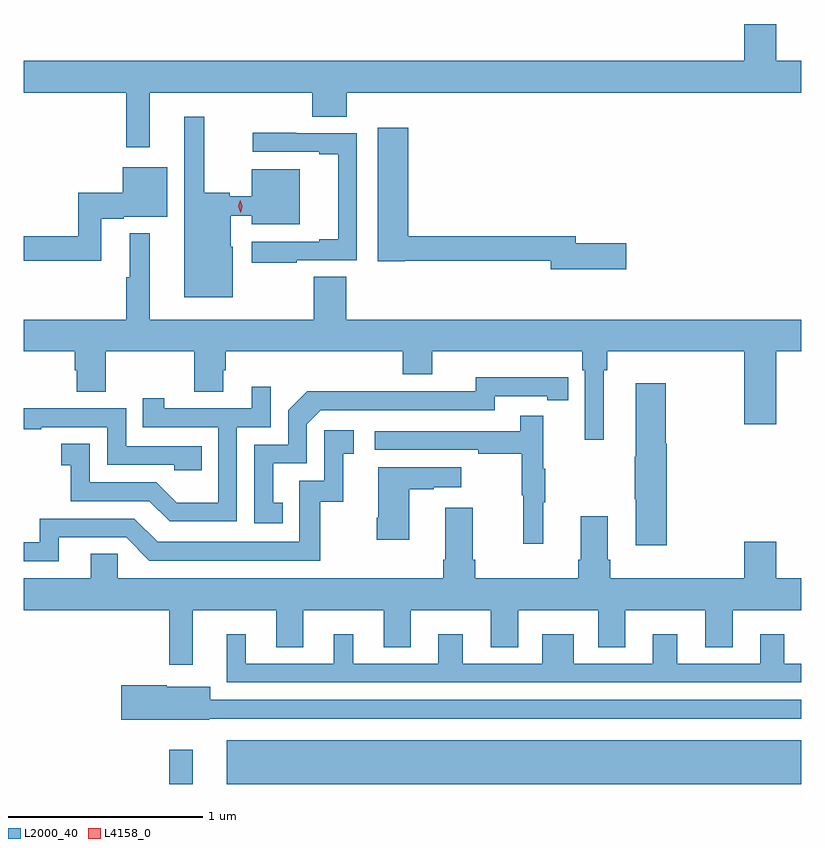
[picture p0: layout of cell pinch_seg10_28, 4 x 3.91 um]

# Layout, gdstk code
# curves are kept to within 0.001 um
import gdstk
lib = gdstk.Library(unit=1e-6, precision=1e-09)
def R(c, l, rs):  # rectangles x0, y0, x1, y1
    for r in rs: c.add(gdstk.rectangle(r[:2], r[2:], *l))
def P(c, l, *ps):  # polygons
    for p in ps: c.add(gdstk.Polygon(p, *l))
L2000_40 = (2000, 40)
L4158_0 = (4158, 0)

pinch_seg10_28 = lib.new_cell('pinch_seg10_28')
R(pinch_seg10_28, L2000_40, [(941.268,1266.122,941.389,1266.298), (941.564,1266.122,944.52,1266.346)])
P(pinch_seg10_28, L2000_40, [(941.167,1269.68),(942.005,1269.68),(942.005,1269.556),(942.182,1269.556),(942.182,1269.68),(944.52,1269.68),(944.52,1269.844),(944.392,1269.844),(944.392,1270.033),(944.228,1270.033),(944.228,1269.844),(940.52,1269.844),(940.52,1269.68),(941.046,1269.68),(941.046,1269.399),(941.167,1269.399)],
  [(941.596,1268.886),(941.584,1268.886),(941.584,1269.047),(941.693,1269.047),(941.693,1269.002),(941.941,1269.002),(941.941,1269.286),(941.693,1269.286),(941.693,1269.147),(941.58,1269.147),(941.58,1269.164),(941.449,1269.164),(941.449,1269.556),(941.345,1269.556),(941.345,1268.627),(941.596,1268.627)],
  [(943.621,1268.906),(943.36,1268.906),(943.36,1268.942),(942.497,1268.942),(942.497,1269.499),(942.341,1269.499),(942.341,1268.812),(942.48,1268.812),(942.48,1268.814),(943.232,1268.814),(943.232,1268.771),(943.621,1268.771)],
  [(941.924,1268.817),(942.234,1268.817),(942.234,1269.471),(941.921,1269.471),(941.921,1269.473),(941.697,1269.473),(941.697,1269.375),(942.041,1269.375),(942.041,1269.363),(942.137,1269.363),(942.137,1268.926),(942.041,1268.926),(942.041,1268.913),(941.694,1268.913),(941.694,1268.805),(941.924,1268.805)],
  [(940.918,1269.031),(941.034,1269.031),(941.034,1269.041),(941.257,1269.041),(941.257,1269.295),(941.03,1269.295),(941.03,1269.164),(940.801,1269.164),(940.801,1268.942),(940.52,1268.942),(940.52,1268.814),(940.918,1268.814)],
  [(943.504,1268.252),(943.523,1268.252),(943.523,1268.348),(944.228,1268.348),(944.228,1267.974),(944.392,1267.974),(944.392,1268.348),(944.52,1268.348),(944.52,1268.512),(942.179,1268.512),(942.179,1268.732),(942.013,1268.732),(942.013,1268.512),(941.167,1268.512),(941.167,1268.956),(941.065,1268.956),(941.065,1268.729),(941.046,1268.729),(941.046,1268.512),(940.52,1268.512),(940.52,1268.348),(940.781,1268.348),(940.781,1268.25),(940.793,1268.25),(940.793,1268.14),(940.941,1268.14),(940.941,1268.348),(941.398,1268.348),(941.398,1268.14),(941.545,1268.14),(941.545,1268.25),(941.558,1268.25),(941.558,1268.348),(942.47,1268.348),(942.47,1268.231),(942.622,1268.231),(942.622,1268.348),(943.394,1268.348),(943.394,1268.252),(943.407,1268.252),(943.407,1267.893),(943.504,1267.893)],
  [(941.852,1267.569),(941.803,1267.569),(941.803,1267.773),(941.976,1267.773),(941.976,1267.974),(942.048,1268.046),(942.942,1268.046),(942.942,1268.118),(943.214,1268.118),(943.214,1268.098),(943.322,1268.098),(943.322,1268.214),(942.846,1268.215),(942.846,1268.142),(942.386,1268.142),(942.386,1268.144),(941.978,1268.144),(941.88,1268.046),(941.88,1267.869),(941.706,1267.869),(941.706,1267.464),(941.852,1267.464)],
  [(943.829,1267.872),(943.824,1267.872),(943.824,1268.185),(943.67,1268.185),(943.67,1267.805),(943.663,1267.805),(943.663,1267.588),(943.67,1267.588),(943.67,1267.35),(943.829,1267.35)],
  [(941.616,1267.959),(941.79,1267.959),(941.79,1268.167),(941.693,1268.167),(941.693,1268.055),(941.242,1268.055),(941.242,1268.107),(941.131,1268.107),(941.131,1267.959),(941.52,1267.959),(941.52,1267.57),(941.306,1267.57),(941.202,1267.674),(940.86,1267.674),(940.86,1267.873),(940.713,1267.873),(940.713,1267.763),(940.762,1267.763),(940.762,1267.578),(941.165,1267.578),(941.27,1267.473),(941.616,1267.473)],
  [(941.435,1267.86),(941.046,1267.86),(941.046,1268.055),(940.52,1268.055),(940.52,1267.947),(940.609,1267.947),(940.609,1267.959),(940.95,1267.959),(940.95,1267.764),(941.295,1267.764),(941.295,1267.737),(941.435,1267.737)],
  [(943.193,1267.571),(943.204,1267.571),(943.204,1267.745),(943.193,1267.745),(943.193,1268.017),(943.075,1268.017),(943.075,1267.938),(942.327,1267.938),(942.327,1267.842),(942.859,1267.842),(942.859,1267.822),(943.083,1267.822),(943.083,1267.608),(943.09,1267.608),(943.09,1267.359),(943.193,1267.359)],
  [(940.699,1267.392),(941.046,1267.392),(941.166,1267.272),(942.046,1267.272),(942.046,1267.575),(942.164,1267.575),(942.164,1267.821),(942.217,1267.821),(942.217,1267.942),(942.066,1267.942),(942.066,1267.683),(941.937,1267.683),(941.937,1267.368),(941.208,1267.368),(941.088,1267.488),(940.602,1267.488),(940.602,1267.365),(940.52,1267.365),(940.52,1267.269),(940.699,1267.269)],
  [(942.502,1267.639),(942.629,1267.639),(942.629,1267.649),(942.772,1267.649),(942.772,1267.753),(942.344,1267.753),(942.344,1267.492),(942.337,1267.492),(942.337,1267.38),(942.502,1267.38)],
  [(941.389,1267.016),(941.819,1267.016),(941.819,1266.826),(941.959,1266.826),(941.959,1267.016),(942.371,1267.016),(942.371,1266.826),(942.511,1266.826),(942.511,1267.016),(942.923,1267.016),(942.923,1266.826),(943.063,1266.826),(943.063,1267.016),(943.475,1267.016),(943.475,1266.826),(943.615,1266.826),(943.615,1267.016),(944.027,1267.016),(944.027,1266.826),(944.167,1266.826),(944.167,1267.016),(944.52,1267.016),(944.52,1267.18),(944.392,1267.18),(944.392,1267.369),(944.228,1267.369),(944.228,1267.18),(943.538,1267.18),(943.538,1267.276),(943.525,1267.276),(943.525,1267.501),(943.385,1267.501),(943.385,1267.276),(943.373,1267.276),(943.373,1267.18),(942.842,1267.18),(942.842,1267.276),(942.829,1267.276),(942.829,1267.543),(942.689,1267.543),(942.689,1267.276),(942.677,1267.276),(942.677,1267.18),(941.004,1267.18),(941.004,1267.307),(940.865,1267.307),(940.865,1267.18),(940.52,1267.18),(940.52,1267.016),(941.268,1267.016),(941.268,1266.735),(941.389,1266.735)],
  [(944.52,1266.741),(944.434,1266.741),(944.434,1266.892),(944.309,1266.892),(944.309,1266.741),(943.882,1266.741),(943.882,1266.892),(943.757,1266.892),(943.757,1266.741),(943.351,1266.741),(943.351,1266.892),(943.187,1266.892),(943.187,1266.741),(942.778,1266.741),(942.778,1266.892),(942.653,1266.892),(942.653,1266.741),(942.214,1266.741),(942.214,1266.892),(942.116,1266.892),(942.116,1266.741),(941.662,1266.741),(941.662,1266.892),(941.564,1266.892),(941.564,1266.645),(944.52,1266.645)],
  [(941.475,1266.459),(944.52,1266.459),(944.52,1266.555),(941.479,1266.555),(941.479,1266.622),(941.256,1266.622),(941.256,1266.63),(941.022,1266.63),(941.022,1266.452),(941.475,1266.452)])
P(pinch_seg10_28, L4158_0, [(941.635,1269.062),(941.635,1269.062),(941.624,1269.094),(941.633,1269.127),(941.633,1269.127),(941.633,1269.127),(941.644,1269.095),(941.636,1269.062)])

lib.write_gds('pinch_seg10_28.gds')
